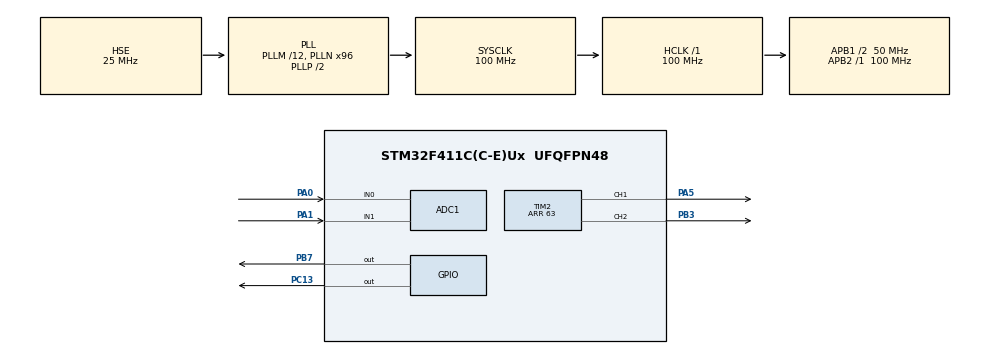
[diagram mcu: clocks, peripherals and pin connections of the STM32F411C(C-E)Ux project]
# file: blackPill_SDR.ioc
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ADC1.Channel-0\#ChannelRegularConversion=ADC_CHANNEL_0
ADC1.Channel-1\#ChannelRegularConversion=ADC_CHANNEL_1
ADC1.ContinuousConvMode=DISABLE
ADC1.DMAContinuousRequests=ENABLE
ADC1.EOCSelection=ADC_EOC_SINGLE_CONV
ADC1.ExternalTrigConv=ADC_EXTERNALTRIGCONV_T3_TRGO
ADC1.NbrOfConversion=2
ADC1.NbrOfConversionFlag=1
ADC1.Rank-0\#ChannelRegularConversion=1
ADC1.Rank-1\#ChannelRegularConversion=2
ADC1.SamplingTime-0\#ChannelRegularConversion=ADC_SAMPLETIME_144CYCLES
ADC1.SamplingTime-1\#ChannelRegularConversion=ADC_SAMPLETIME_144CYCLES
ADC1.ScanConvMode=ENABLE
ADC1.master=1
Dma.ADC1.0.Direction=DMA_PERIPH_TO_MEMORY
Dma.ADC1.0.FIFOMode=DMA_FIFOMODE_DISABLE
Dma.ADC1.0.Instance=DMA2_Stream0
Dma.ADC1.0.MemDataAlignment=DMA_MDATAALIGN_HALFWORD
Dma.ADC1.0.MemInc=DMA_MINC_ENABLE
Dma.ADC1.0.Mode=DMA_CIRCULAR
Dma.ADC1.0.PeriphDataAlignment=DMA_PDATAALIGN_HALFWORD
Dma.ADC1.0.PeriphInc=DMA_PINC_DISABLE
Dma.ADC1.0.Priority=DMA_PRIORITY_LOW
Dma.Request0=ADC1
Mcu.Family=STM32F4
Mcu.Name=STM32F411C(C-E)Ux
Mcu.Package=UFQFPN48
NVIC.DMA2_Stream0_IRQn=true\:0\:0\:false\:false\:true\:false\:true\:true
NVIC.PriorityGroup=NVIC_PRIORITYGROUP_4
NVIC.TIM3_IRQn=true\:0\:0\:false\:false\:true\:true\:true\:true
PA0-WKUP.Signal=ADCx_IN0
PA1.Signal=ADCx_IN1
PA13.Mode=Serial_Wire
PA13.Signal=SYS_JTMS-SWDIO
PA14.Mode=Serial_Wire
PA14.Signal=SYS_JTCK-SWCLK
PA3.Signal=ADCx_IN3
PA5.Signal=S_TIM2_CH1_ETR
PB3.Signal=S_TIM2_CH2
PB7.Signal=GPIO_Output
PC13-ANTI_TAMP.Signal=GPIO_Output
PC14-OSC32_IN.Mode=LSE-External-Oscillator
PC14-OSC32_IN.Signal=RCC_OSC32_IN
PC15-OSC32_OUT.Mode=LSE-External-Oscillator
PC15-OSC32_OUT.Signal=RCC_OSC32_OUT
PH0\ -\ OSC_IN.Mode=HSE-External-Oscillator
PH0\ -\ OSC_IN.Signal=RCC_OSC_IN
PH1\ -\ OSC_OUT.Mode=HSE-External-Oscillator
PH1\ -\ OSC_OUT.Signal=RCC_OSC_OUT
ProjectManager.HeapSize=0x200
ProjectManager.StackSize=0x400
ProjectManager.TargetToolchain=STM32CubeIDE
RCC.48MHZClocksFreq_Value=50000000
RCC.AHBFreq_Value=100000000
RCC.APB1CLKDivider=RCC_HCLK_DIV2
RCC.APB1Freq_Value=50000000
RCC.APB1TimFreq_Value=100000000
RCC.APB2Freq_Value=100000000
RCC.APB2TimFreq_Value=100000000
RCC.CortexFreq_Value=100000000
RCC.HCLKFreq_Value=100000000
RCC.HSE_VALUE=25000000
RCC.HSI_VALUE=16000000
RCC.PLLM=12
RCC.PLLN=96
RCC.PLLSourceVirtual=RCC_PLLSOURCE_HSE
RCC.SYSCLKFreq_VALUE=100000000
RCC.SYSCLKSource=RCC_SYSCLKSOURCE_PLLCLK
RCC.VCOOutputFreq_Value=200000000
SH.ADCx_IN0.0=ADC1_IN0,IN0
SH.ADCx_IN1.0=ADC1_IN1,IN1
SH.ADCx_IN3.0=ADC1_IN3
SH.S_TIM2_CH1_ETR.0=TIM2_CH1,PWM Generation1 CH1
SH.S_TIM2_CH2.0=TIM2_CH2,PWM Generation2 CH2
STMicroelectronics.X-CUBE-ALGOBUILD.1.4.0.LibraryCcDSPOoLibraryJjDSPOoLibrary=true
TIM2.Channel-PWM\ Generation1\ CH1=TIM_CHANNEL_1
TIM2.Channel-PWM\ Generation2\ CH2=TIM_CHANNEL_2
TIM2.Period=63
TIM3.Channel-PWM\ Generation1\ No\ Output=TIM_CHANNEL_1
TIM3.Period=999
TIM3.Prescaler=3
TIM3.TIM_MasterOutputTrigger=TIM_TRGO_UPDATE
VP_STMicroelectronics.X-CUBE-ALGOBUILD_VS_DSPOoLibraryJjLibrary_1.4.0_1.4.0.Mode=DSPOoLibraryJjLibrary
VP_TIM2_VS_ClockSourceINT.Mode=Internal
VP_TIM3_VS_ClockSourceINT.Mode=Internal
VP_TIM3_VS_no_output1.Mode=PWM Generation1 No Output
board=custom

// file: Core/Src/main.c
/* USER CODE BEGIN Header */
/**
  ******************************************************************************
  * @file           : main.c
  * @brief          : Main program body
  ******************************************************************************
  * @attention
  *
  * Copyright (c) 2024 STMicroelectronics.
  * All rights reserved.
  *
  * This software is licensed under terms that can be found in the LICENSE file
  * in the root directory of this software component.
  * If no LICENSE file comes with this software, it is provided AS-IS.
  *
  ******************************************************************************
  */
/* USER CODE END Header */
#include "main.h"

/* USER CODE BEGIN Includes */

#include "arm_math.h"
#include <stdbool.h>

#include "filters.h"

/* USER CODE END Includes */

/* USER CODE BEGIN PD */

#define BUFFER_SIZE 128
#define HILBERT_NUM_TAPS 128

#define ADC_MAX 4095

/* USER CODE END PD */

ADC_HandleTypeDef hadc1;
DMA_HandleTypeDef hdma_adc1;

TIM_HandleTypeDef htim2;
TIM_HandleTypeDef htim3;

/* USER CODE BEGIN PV */

uint16_t adc_buffer[BUFFER_SIZE * 2]; //Factor two because of two ADC channels
uint16_t dac_buffer[BUFFER_SIZE];

static volatile uint16_t dac_curr_sample_pos;

static volatile uint16_t* adc_process_ptr;
static volatile uint16_t* dac_process_ptr;
static volatile bool adc_process;

int32_t adc_dc_bias = 0;

arm_fir_instance_q15 filter1;
q15_t filter1_state[(BUFFER_SIZE / 2) + CW_NUM_COEFFS - 1];
q15_t filter1_in[BUFFER_SIZE / 2];
q15_t filter1_out[BUFFER_SIZE / 2];

arm_fir_instance_q15 filter2;
q15_t filter2_state[(BUFFER_SIZE / 2) + HILBERT_NUM_TAPS - 1];
q15_t filter2_in[BUFFER_SIZE / 2];
q15_t filter2_out[BUFFER_SIZE / 2];

/* USER CODE END PV */

void SystemClock_Config(void);
static void MX_GPIO_Init(void);
static void MX_DMA_Init(void);
static void MX_ADC1_Init(void);
static void MX_TIM2_Init(void);
static void MX_TIM3_Init(void);
/* USER CODE BEGIN PFP */

void process_data();
q15_t convert_adc_to_q15(uint16_t input);
uint16_t convert_q15_to_dac(q15_t input);

/* USER CODE END PFP */

int main(void)
{

  /* USER CODE BEGIN 1 */

  //Clearing the buffers
  for(uint16_t i = 0; i < BUFFER_SIZE * 2; i++)
  {
	adc_buffer[i] = 0;
  }

  for(uint16_t i = 0; i < BUFFER_SIZE; i++)
  {
	dac_buffer[i] = 0;
  }

  //Setting position of the DAC's current sample to the beginning of the buffer's lower half
  dac_curr_sample_pos = BUFFER_SIZE / 2;

  //Resetting the flag for processing the ADC buffer
  adc_process = false;

  arm_fir_init_q15(&filter1, CW_NUM_COEFFS, &cw_filter_coefficients[0], &filter1_state[0], BUFFER_SIZE / 2);
  arm_fir_init_q15(&filter2, HILBERT_NUM_TAPS, &hilbert_m_45_coeffs[0], &filter2_state[0], BUFFER_SIZE / 2);

  /* USER CODE END 1 */

  /* MCU Configuration--------------------------------------------------------*/

  /* Reset of all peripherals, Initializes the Flash interface and the Systick. */
  HAL_Init();

  /* Configure the system clock */
  SystemClock_Config();

  /* Initialize all configured peripherals */
  MX_GPIO_Init();
  MX_DMA_Init();
  MX_ADC1_Init();
  MX_TIM2_Init();
  MX_TIM3_Init();
  /* USER CODE BEGIN 2 */

  //Turning off the on-board LED (inverted)
  HAL_GPIO_WritePin(GPIOC, GPIO_PIN_13, 1);

  //Starting ADC1 with DMA
  HAL_ADC_Start_DMA(&hadc1, (uint32_t*) adc_buffer, BUFFER_SIZE * 2);

  //Starting TIM3 (triggering conversions and data transfer) with interrupts
  HAL_TIM_Base_Start_IT(&htim3);

  //Starting TIM2 (PWM generation)
  HAL_TIM_PWM_Start(&htim2, TIM_CHANNEL_1);
  HAL_TIM_PWM_Start(&htim2, TIM_CHANNEL_2);

  /* USER CODE END 2 */

  /* Infinite loop */
  /* USER CODE BEGIN WHILE */
  while (1)
  {
	if(adc_process == true)
	{
		HAL_GPIO_WritePin(GPIOB, GPIO_PIN_7, 1);

	  	process_data();
		adc_process = false;

	  	HAL_GPIO_WritePin(GPIOB, GPIO_PIN_7, 0);
	}
    /* USER CODE END WHILE */

  }
}

void SystemClock_Config(void)
{
  RCC_OscInitTypeDef RCC_OscInitStruct = {0};
  RCC_ClkInitTypeDef RCC_ClkInitStruct = {0};

  /** Configure the main internal regulator output voltage
  */
  __HAL_RCC_PWR_CLK_ENABLE();
  __HAL_PWR_VOLTAGESCALING_CONFIG(PWR_REGULATOR_VOLTAGE_SCALE1);

  /** Initializes the RCC Oscillators according to the specified parameters
  * in the RCC_OscInitTypeDef structure.
  */
  RCC_OscInitStruct.OscillatorType = RCC_OSCILLATORTYPE_HSE;
  RCC_OscInitStruct.HSEState = RCC_HSE_ON;
  RCC_OscInitStruct.PLL.PLLState = RCC_PLL_ON;
  RCC_OscInitStruct.PLL.PLLSource = RCC_PLLSOURCE_HSE;
  RCC_OscInitStruct.PLL.PLLM = 12;
  RCC_OscInitStruct.PLL.PLLN = 96;
  RCC_OscInitStruct.PLL.PLLP = RCC_PLLP_DIV2;
  RCC_OscInitStruct.PLL.PLLQ = 4;
  if (HAL_RCC_OscConfig(&RCC_OscInitStruct) != HAL_OK)
  {
    Error_Handler();
  }

  /** Initializes the CPU, AHB and APB buses clocks
  */
  RCC_ClkInitStruct.ClockType = RCC_CLOCKTYPE_HCLK|RCC_CLOCKTYPE_SYSCLK
                              |RCC_CLOCKTYPE_PCLK1|RCC_CLOCKTYPE_PCLK2;
  RCC_ClkInitStruct.SYSCLKSource = RCC_SYSCLKSOURCE_PLLCLK;
  RCC_ClkInitStruct.AHBCLKDivider = RCC_SYSCLK_DIV1;
  RCC_ClkInitStruct.APB1CLKDivider = RCC_HCLK_DIV2;
  RCC_ClkInitStruct.APB2CLKDivider = RCC_HCLK_DIV1;

  if (HAL_RCC_ClockConfig(&RCC_ClkInitStruct, FLASH_LATENCY_3) != HAL_OK)
  {
    Error_Handler();
  }
}

static void MX_ADC1_Init(void)
{

  ADC_ChannelConfTypeDef sConfig = {0};

  /** Configure the global features of the ADC (Clock, Resolution, Data Alignment and number of conversion)
  */
  hadc1.Instance = ADC1;
  hadc1.Init.ClockPrescaler = ADC_CLOCK_SYNC_PCLK_DIV4;
  hadc1.Init.Resolution = ADC_RESOLUTION_12B;
  hadc1.Init.ScanConvMode = ENABLE;
  hadc1.Init.ContinuousConvMode = DISABLE;
  hadc1.Init.DiscontinuousConvMode = DISABLE;
  hadc1.Init.ExternalTrigConvEdge = ADC_EXTERNALTRIGCONVEDGE_RISING;
  hadc1.Init.ExternalTrigConv = ADC_EXTERNALTRIGCONV_T3_TRGO;
  hadc1.Init.DataAlign = ADC_DATAALIGN_RIGHT;
  hadc1.Init.NbrOfConversion = 2;
  hadc1.Init.DMAContinuousRequests = ENABLE;
  hadc1.Init.EOCSelection = ADC_EOC_SINGLE_CONV;
  if (HAL_ADC_Init(&hadc1) != HAL_OK)
  {
    Error_Handler();
  }

  /** Configure for the selected ADC regular channel its corresponding rank in the sequencer and its sample time.
  */
  sConfig.Channel = ADC_CHANNEL_0;
  sConfig.Rank = 1;
  sConfig.SamplingTime = ADC_SAMPLETIME_144CYCLES;
  if (HAL_ADC_ConfigChannel(&hadc1, &sConfig) != HAL_OK)
  {
    Error_Handler();
  }

  /** Configure for the selected ADC regular channel its corresponding rank in the sequencer and its sample time.
  */
  sConfig.Channel = ADC_CHANNEL_1;
  sConfig.Rank = 2;
  if (HAL_ADC_ConfigChannel(&hadc1, &sConfig) != HAL_OK)
  {
    Error_Handler();
  }

}

static void MX_TIM2_Init(void)
{

  TIM_ClockConfigTypeDef sClockSourceConfig = {0};
  TIM_MasterConfigTypeDef sMasterConfig = {0};
  TIM_OC_InitTypeDef sConfigOC = {0};

  htim2.Instance = TIM2;
  htim2.Init.Prescaler = 0;
  htim2.Init.CounterMode = TIM_COUNTERMODE_UP;
  htim2.Init.Period = 63;
  htim2.Init.ClockDivision = TIM_CLOCKDIVISION_DIV1;
  htim2.Init.AutoReloadPreload = TIM_AUTORELOAD_PRELOAD_DISABLE;
  if (HAL_TIM_Base_Init(&htim2) != HAL_OK)
  {
    Error_Handler();
  }
  sClockSourceConfig.ClockSource = TIM_CLOCKSOURCE_INTERNAL;
  if (HAL_TIM_ConfigClockSource(&htim2, &sClockSourceConfig) != HAL_OK)
  {
    Error_Handler();
  }
  if (HAL_TIM_PWM_Init(&htim2) != HAL_OK)
  {
    Error_Handler();
  }
  sMasterConfig.MasterOutputTrigger = TIM_TRGO_RESET;
  sMasterConfig.MasterSlaveMode = TIM_MASTERSLAVEMODE_DISABLE;
  if (HAL_TIMEx_MasterConfigSynchronization(&htim2, &sMasterConfig) != HAL_OK)
  {
    Error_Handler();
  }
  sConfigOC.OCMode = TIM_OCMODE_PWM1;
  sConfigOC.Pulse = 0;
  sConfigOC.OCPolarity = TIM_OCPOLARITY_HIGH;
  sConfigOC.OCFastMode = TIM_OCFAST_DISABLE;
  if (HAL_TIM_PWM_ConfigChannel(&htim2, &sConfigOC, TIM_CHANNEL_1) != HAL_OK)
  {
    Error_Handler();
  }
  if (HAL_TIM_PWM_ConfigChannel(&htim2, &sConfigOC, TIM_CHANNEL_2) != HAL_OK)
  {
    Error_Handler();
  }
  HAL_TIM_MspPostInit(&htim2);

}

static void MX_TIM3_Init(void)
{

  TIM_ClockConfigTypeDef sClockSourceConfig = {0};
  TIM_MasterConfigTypeDef sMasterConfig = {0};
  TIM_OC_InitTypeDef sConfigOC = {0};

  htim3.Instance = TIM3;
  htim3.Init.Prescaler = 3;
  htim3.Init.CounterMode = TIM_COUNTERMODE_UP;
  htim3.Init.Period = 999;
  htim3.Init.ClockDivision = TIM_CLOCKDIVISION_DIV1;
  htim3.Init.AutoReloadPreload = TIM_AUTORELOAD_PRELOAD_DISABLE;
  if (HAL_TIM_Base_Init(&htim3) != HAL_OK)
  {
    Error_Handler();
  }
  sClockSourceConfig.ClockSource = TIM_CLOCKSOURCE_INTERNAL;
  if (HAL_TIM_ConfigClockSource(&htim3, &sClockSourceConfig) != HAL_OK)
  {
    Error_Handler();
  }
  if (HAL_TIM_PWM_Init(&htim3) != HAL_OK)
  {
    Error_Handler();
  }
  sMasterConfig.MasterOutputTrigger = TIM_TRGO_UPDATE;
  sMasterConfig.MasterSlaveMode = TIM_MASTERSLAVEMODE_DISABLE;
  if (HAL_TIMEx_MasterConfigSynchronization(&htim3, &sMasterConfig) != HAL_OK)
  {
    Error_Handler();
  }
  sConfigOC.OCMode = TIM_OCMODE_PWM1;
  sConfigOC.Pulse = 0;
  sConfigOC.OCPolarity = TIM_OCPOLARITY_HIGH;
  sConfigOC.OCFastMode = TIM_OCFAST_DISABLE;
  if (HAL_TIM_PWM_ConfigChannel(&htim3, &sConfigOC, TIM_CHANNEL_1) != HAL_OK)
  {
    Error_Handler();
  }

}

static void MX_DMA_Init(void)
{

  /* DMA controller clock enable */
  __HAL_RCC_DMA2_CLK_ENABLE();

  /* DMA interrupt init */
  /* DMA2_Stream0_IRQn interrupt configuration */
  HAL_NVIC_SetPriority(DMA2_Stream0_IRQn, 0, 0);
  HAL_NVIC_EnableIRQ(DMA2_Stream0_IRQn);

}

static void MX_GPIO_Init(void)
{
  GPIO_InitTypeDef GPIO_InitStruct = {0};

  /* GPIO Ports Clock Enable */
  __HAL_RCC_GPIOC_CLK_ENABLE();
  __HAL_RCC_GPIOH_CLK_ENABLE();
  __HAL_RCC_GPIOA_CLK_ENABLE();
  __HAL_RCC_GPIOB_CLK_ENABLE();

  /*Configure GPIO pin Output Level */
  HAL_GPIO_WritePin(GPIOC, GPIO_PIN_13, GPIO_PIN_RESET);

  /*Configure GPIO pin Output Level */
  HAL_GPIO_WritePin(GPIOB, GPIO_PIN_7, GPIO_PIN_RESET);

  /*Configure GPIO pin : PC13 */
  GPIO_InitStruct.Pin = GPIO_PIN_13;
  GPIO_InitStruct.Mode = GPIO_MODE_OUTPUT_PP;
  GPIO_InitStruct.Pull = GPIO_NOPULL;
  GPIO_InitStruct.Speed = GPIO_SPEED_FREQ_LOW;
  HAL_GPIO_Init(GPIOC, &GPIO_InitStruct);

  /*Configure GPIO pin : PB7 */
  GPIO_InitStruct.Pin = GPIO_PIN_7;
  GPIO_InitStruct.Mode = GPIO_MODE_OUTPUT_PP;
  GPIO_InitStruct.Pull = GPIO_NOPULL;
  GPIO_InitStruct.Speed = GPIO_SPEED_FREQ_LOW;
  HAL_GPIO_Init(GPIOB, &GPIO_InitStruct);

}

/* USER CODE BEGIN 4 */

void HAL_TIM_PeriodElapsedCallback(TIM_HandleTypeDef *htim)
{
	//Checking if the interrupt was caused by TIM3 (triggering conversions and data transfer)
	if (htim->Instance == TIM3)
	{
		//Setting the output sample's upper six bits to CCR1 (channel 1) and the lower six bits to CCR2 (channel 2) of TIM2
		htim2.Instance->CCR1 = (dac_buffer[dac_curr_sample_pos] & 0xFC0) >> 6;
		htim2.Instance->CCR2 = dac_buffer[dac_curr_sample_pos] & 0xF3;

		//Checking if processing of the ADC's samples is needed
		if (dac_curr_sample_pos == BUFFER_SIZE / 2) //Lower half of the ADC's buffer needs to be processed
		{
			//Setting pointers to the upper half of the ADC's and the DAC's buffers
			adc_process_ptr = &adc_buffer[0];
			dac_process_ptr = &dac_buffer[0];

			//Setting the flag that processing is needed
			adc_process = true;
		}
		else if (dac_curr_sample_pos == BUFFER_SIZE - 1) //Upper half of the ADC's buffer needs to be processed
		{
			//Setting pointers to the lower half of the ADC's and DAC's buffers
			adc_process_ptr = &adc_buffer[BUFFER_SIZE];
			dac_process_ptr = &dac_buffer[BUFFER_SIZE / 2];

			//Setting the flag that processing is needed
			adc_process = true;
		}

		//Incrementing the position of the current sample and wrapping around if the buffer's end was reached
		dac_curr_sample_pos++;
		if (dac_curr_sample_pos >= BUFFER_SIZE)
		{
			dac_curr_sample_pos = 0;
		}
	}
}

void process_data()
{
	//Separating the ADC data of the two channels into two input buffers for the filters
	for(uint16_t i = 0; i < BUFFER_SIZE; i += 2)
	{
		filter1_in[i / 2] = convert_adc_to_q15(adc_process_ptr[i]);
		filter2_in[i / 2] = convert_adc_to_q15(adc_process_ptr[i + 1]);
	}

	arm_fir_q15(&filter1, &filter1_in[0], &filter1_out[0], BUFFER_SIZE / 2);
	//arm_fir_q15(&filter2, &filter2_in[0], &filter2_out[0], BUFFER_SIZE / 2);

	//Copying the data of one input buffer to the DAC's output buffer to build a passthrough
	for(uint16_t i = 0; i < BUFFER_SIZE / 2; i++)
	{
		dac_process_ptr[i] = convert_q15_to_dac(filter1_out[i]);
	}
}

//Function to convert 12-bit ADC data to q15_t
q15_t convert_adc_to_q15(uint16_t input) {
	adc_dc_bias += ((int32_t)input - adc_dc_bias) / 256;

	int32_t centered_value = (int32_t)input - adc_dc_bias;
	int32_t q15_scaled = (centered_value * Q15_MAX) / (ADC_MAX / 2);

	if (q15_scaled > Q15_MAX) q15_scaled = Q15_MAX;
	if (q15_scaled < Q15_MIN) q15_scaled = Q15_MIN;

	return (q15_t) q15_scaled;
}

//Function to convert q15_t to 12-bit DAC data
uint16_t convert_q15_to_dac(q15_t input) {
	int32_t adc_value = ((int32_t)input * (ADC_MAX / 2)) / Q15_MAX + (ADC_MAX / 2);

	if (adc_value > ADC_MAX) adc_value = ADC_MAX;
	if (adc_value < 0) adc_value = 0;

	return (uint16_t)adc_value;
}

/* USER CODE END 4 */

void Error_Handler(void)
{
  __disable_irq();
  while (1)
  {
  }
}
